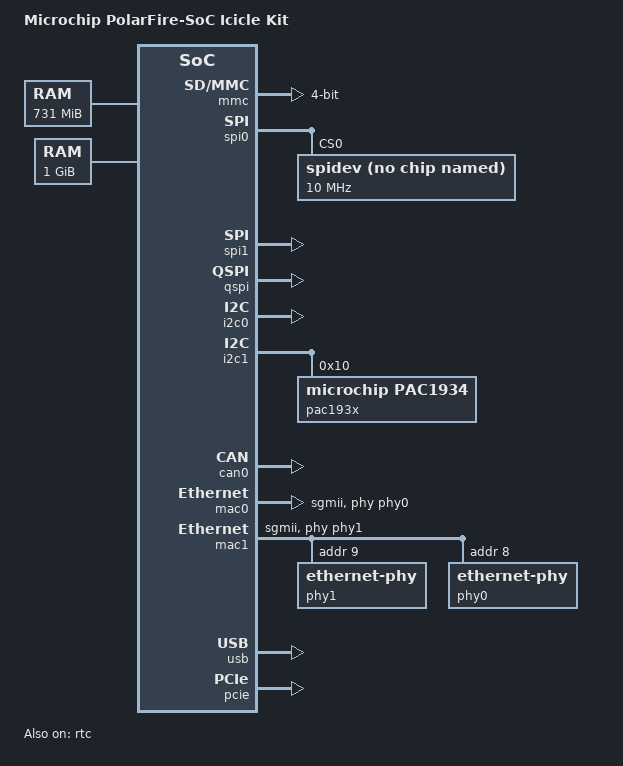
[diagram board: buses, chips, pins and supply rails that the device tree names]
// SPDX-License-Identifier: (GPL-2.0 OR MIT)
/* Copyright (c) 2020-2021 Microchip Technology Inc */

/dts-v1/;

#include "microchip-mpfs.dtsi"

/* Clock frequency (in Hz) of the rtcclk */
#define RTCCLK_FREQ		1000000

/ {
	model = "Microchip PolarFire-SoC Icicle Kit";
	compatible = "microchip,mpfs-icicle-kit", "microchip,mpfs";

	aliases {
		mmuart0 = &mmuart0;
		mmuart1 = &mmuart1;
		mmuart2 = &mmuart2;
		mmuart3 = &mmuart3;
		mmuart4 = &mmuart4;
	};

	chosen {
		stdout-path = "mmuart1:115200n8";
	};

	cpus {
		timebase-frequency = <RTCCLK_FREQ>;
	};

	reserved-memory {
		ranges;
		#size-cells = <2>;
		#address-cells = <2>;

		fabricbuf0: fabricbuf@0 {
			compatible = "shared-dma-pool";
			reg = <0x0 0xadb00000 0x0 0x2000000>;
			label = "fabricbuf0-ddr-c";
		};

		fabricbuf1: fabricbuf@1 {
			compatible = "shared-dma-pool";
			reg = <0x0 0xc0000000 0x0 0x8000000>;
			label = "fabricbuf1-ddr-nc";
		};

		fabricbuf2: fabricbuf@2 {
			compatible = "shared-dma-pool";
			reg = <0x0 0xd8000000 0x0 0x8000000>;
			label = "fabricbuf2-ddr-nc-wcb";
		};
	};

	udmabuf0 {
		compatible = "ikwzm,u-dma-buf";
		device-name = "udmabuf-ddr-c0";
		minor-number = <0>;
		size = <0x0 0x2000000>;
		memory-region = <&fabricbuf0>;
		sync-mode = <3>;
	};

	udmabuf1 {
		compatible = "ikwzm,u-dma-buf";
		device-name = "udmabuf-ddr-nc0";
		minor-number = <1>;
		size = <0x0 0x8000000>;
		memory-region = <&fabricbuf1>;
		sync-mode = <3>;
	};

	udmabuf2 {
		compatible = "ikwzm,u-dma-buf";
		device-name = "udmabuf-ddr-nc-wcb0";
		minor-number = <2>;
		size = <0x0 0x8000000>;
		memory-region = <&fabricbuf2>;
		sync-mode = <3>;
	};

	DDRC_CACHE_LO: memory@80000000 {
		device_type = "memory";
		reg = <0x0 0x80000000 0x0 0x2db00000>;
		clocks = <&clkcfg CLK_DDRC>;
		status = "okay";
	};

	ddrc_cache_hi: memory@1000000000 {
		device_type = "memory";
		reg = <0x10 0x0 0x0 0x40000000>;
		clocks = <&clkcfg CLK_DDRC>;
		status = "okay";
	};
};

&mmuart1 {
	status = "okay";
};

&mmuart2 {
	status = "okay";
};

&mmuart3 {
	status = "disabled"; // in use by context b
};

&mmuart4 {
	status = "okay";
};

&mmc {
	status = "okay";
	bus-width = <4>;
	disable-wp;
	cap-sd-highspeed;
	cap-mmc-highspeed;
	card-detect-delay = <200>;
	mmc-ddr-1_8v;
	mmc-hs200-1_8v;
	sd-uhs-sdr12;
	sd-uhs-sdr25;
	sd-uhs-sdr50;
	sd-uhs-sdr104;
};

&spi0 {
	status = "okay";
	spidev@0 {
		compatible = "linux,spidev";
		reg = <0>; /* CS 0 */
		spi-max-frequency = <10000000>;
		status = "okay";
	};
};

&spi1 {
	status = "okay";
};

&qspi {
	status = "okay";
};

&i2c0 {
	status = "okay";
};

&i2c1 {
	status = "okay";
	pac193x: pac193x@10 {
		compatible = "microchip,pac1934";
		reg = <0x10>;
		samp-rate = <64>;
		status = "okay";
		ch0: channel0 {
			uohms-shunt-res = <10000>;
			rail-name = "VDDREG";
			channel_enabled;
		};
		ch1: channel1 {
			uohms-shunt-res = <10000>;
			rail-name = "VDDA25";
			channel_enabled;
		};
		ch2: channel2 {
			uohms-shunt-res = <10000>;
			rail-name = "VDD25";
			channel_enabled;
		};
		ch3: channel3 {
			uohms-shunt-res = <10000>;
			rail-name = "VDDA_REG";
			channel_enabled;
		};
	};
};

&can0 {
	status = "okay";
};

&mac0 {
	status = "okay";
	phy-mode = "sgmii";
	phy-handle = <&phy0>;
};

&mac1 {
	status = "okay";
	phy-mode = "sgmii";
	phy-handle = <&phy1>;
	phy1: ethernet-phy@9 {
		reg = <9>;
		ti,fifo-depth = <0x1>;
	};
	phy0: ethernet-phy@8 {
		reg = <8>;
		ti,fifo-depth = <0x1>;
	};
};

&gpio0 {
	status = "disabled"; // in use by context b
};
&gpio1 {
	status = "disabled"; // in use by context b
};
&gpio2 {
	status = "disabled"; // in use by context b
};

&rtc {
	status = "okay";
};

&usb {
	status = "okay";
};

&mbox {
	status = "okay";
};

&pcie {
	status = "okay";
};

&cpu3 {
	status = "disabled"; // in use by context b
};
